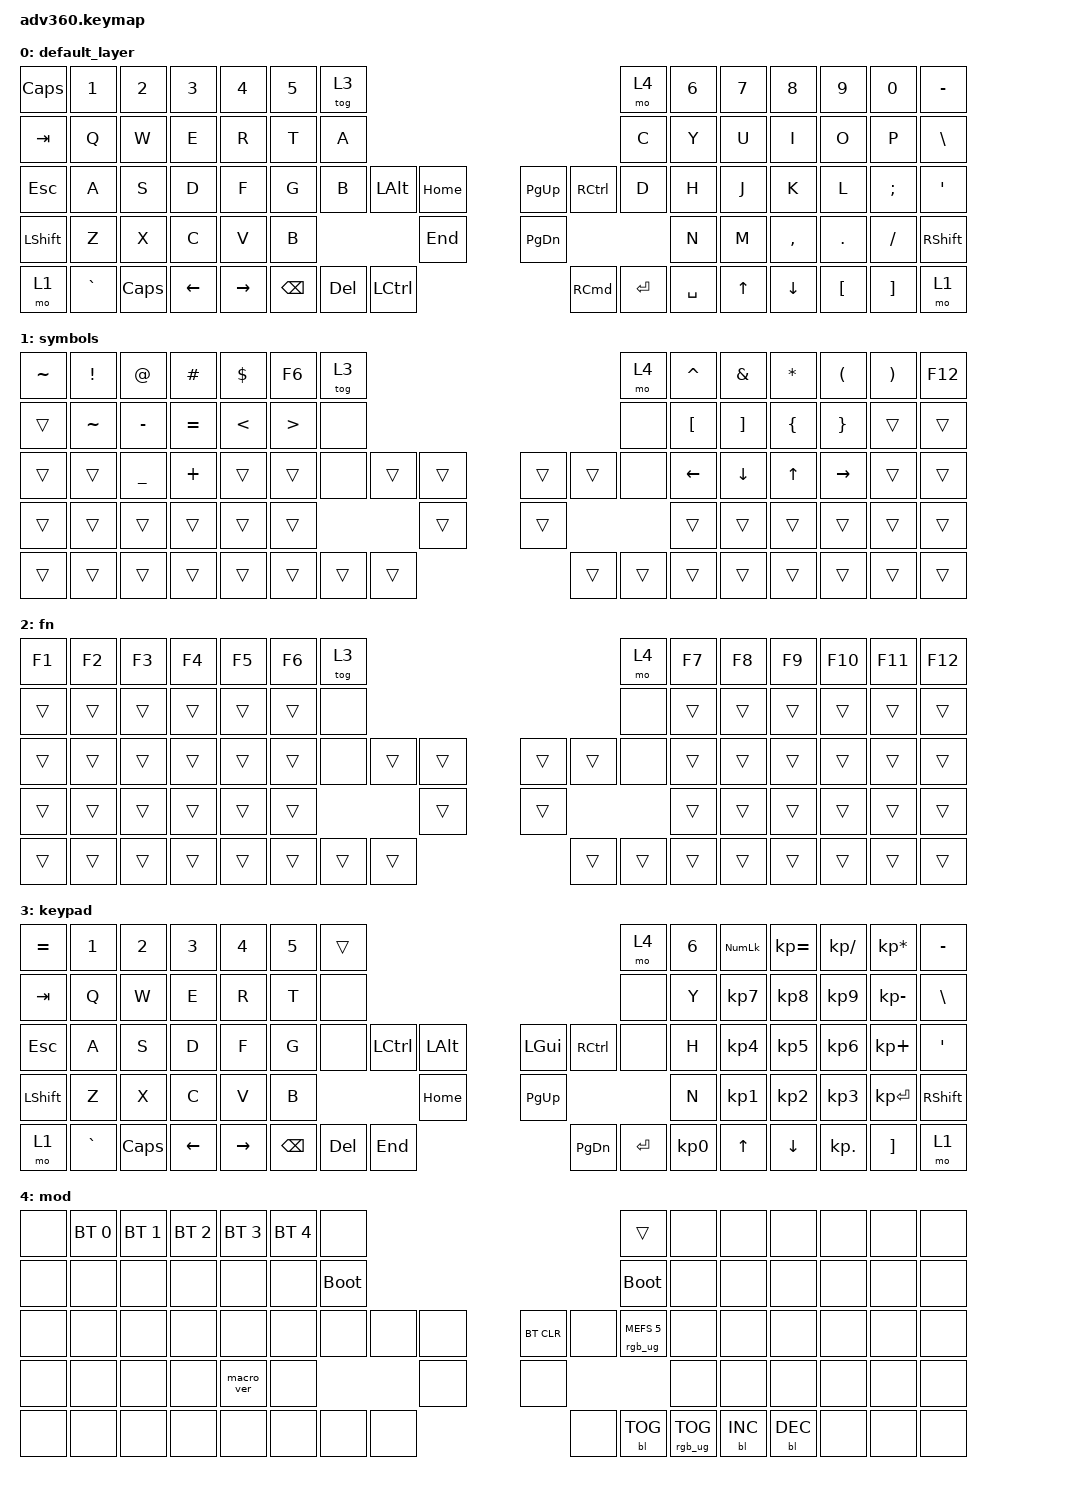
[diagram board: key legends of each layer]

#include <behaviors.dtsi>
#include <dt-bindings/zmk/backlight.h>
#include <dt-bindings/zmk/bt.h>
#include <dt-bindings/zmk/keys.h>
#include <dt-bindings/zmk/rgb.h>

/ {
    behaviors {
        #include "macros.dtsi"
      #include "version.dtsi"
      #ifndef VERSION_MACRO

        macro_ver: macro_ver {
            compatible = "zmk,behavior-macro";
            label = "macro_version";
            #binding-cells = <0>;
            bindings = <&kp RET>;
        };

        #endif

        hm: homerow_mods {
            compatible = "zmk,behavior-hold-tap";
            label = "HOMEROW_MODS";
            #binding-cells = <2>;
            tapping-term-ms = <200>;
            quick_tap_ms = <175>;
            flavor = "tap-preferred";
            bindings = <&kp>, <&kp>;
        };
    };

    macros {
    };

    keymap {
        compatible = "zmk,keymap";

        default_layer {
            bindings = <
&kp CAPSLOCK  &kp N1     &kp N2    &kp N3    &kp N4     &kp N5  &tog 3                                                                                       &mo 4  &kp N6  &kp N7  &kp N8     &kp N9    &kp N0    &kp MINUS
&kp TAB       &kp Q      &kp W     &kp E     &kp R      &kp T   &kp A                                                                                        &kp C  &kp Y   &kp U   &kp I      &kp O     &kp P     &kp BSLH
&kp ESC       &kp A      &kp S     &kp D     &kp F      &kp G   &kp B             &kp LEFT_ALT  &kp HOME            &kp PAGE_UP        &kp RCTRL             &kp D  &kp H   &kp J   &kp K      &kp L     &kp SEMI  &kp SQT
&kp LSHFT     &kp Z      &kp X     &kp C     &kp V      &kp B                                   &kp END             &kp PAGE_DOWN                                   &kp N   &kp M   &kp COMMA  &kp DOT   &kp FSLH  &kp RSHFT
&mo 1         &kp GRAVE  &kp CAPS  &kp LEFT  &kp RIGHT                  &kp BSPC  &kp DEL       &kp LEFT_CONTROL    &kp RIGHT_COMMAND  &kp ENTER  &kp SPACE                 &kp UP  &kp DOWN   &kp LBKT  &kp RBKT  &mo 1
            >;
        };

        symbols {
            bindings = <
&kp TILDE  &kp EXCL   &kp AT          &kp HASH   &kp DOLLAR     &kp F6            &tog 3                                                    &mo 4  &kp CARET         &kp AMPERSAND      &kp ASTERISK    &kp LEFT_PARENTHESIS  &kp RIGHT_PARENTHESIS  &kp F12
&trans     &kp TILDE  &kp MINUS       &kp EQUAL  &kp LESS_THAN  &kp GREATER_THAN  &none                                                     &none  &kp LEFT_BRACKET  &kp RIGHT_BRACKET  &kp LEFT_BRACE  &kp RIGHT_BRACE       &trans                 &trans
&trans     &trans     &kp UNDERSCORE  &kp PLUS   &trans         &trans            &none           &trans  &trans    &trans  &trans          &none  &kp LEFT_ARROW    &kp DOWN_ARROW     &kp UP_ARROW    &kp RIGHT_ARROW       &trans                 &trans
&trans     &trans     &trans          &trans     &trans         &trans                                    &trans    &trans                         &trans            &trans             &trans          &trans                &trans                 &trans
&trans     &trans     &trans          &trans     &trans                                   &trans  &trans  &trans    &trans  &trans  &trans                           &trans             &trans          &trans                &trans                 &trans
            >;
        };

        fn {
            bindings = <
&kp F1  &kp F2  &kp F3  &kp F4  &kp F5  &kp F6  &tog 3                                                    &mo 4  &kp F7  &kp F8  &kp F9  &kp F10  &kp F11  &kp F12
&trans  &trans  &trans  &trans  &trans  &trans  &none                                                     &none  &trans  &trans  &trans  &trans   &trans   &trans
&trans  &trans  &trans  &trans  &trans  &trans  &none           &trans  &trans    &trans  &trans          &none  &trans  &trans  &trans  &trans   &trans   &trans
&trans  &trans  &trans  &trans  &trans  &trans                          &trans    &trans                         &trans  &trans  &trans  &trans   &trans   &trans
&trans  &trans  &trans  &trans  &trans                  &trans  &trans  &trans    &trans  &trans  &trans                 &trans  &trans  &trans   &trans   &trans
            >;
        };

        keypad {
            bindings = <
&kp EQUAL  &kp N1     &kp N2    &kp N3    &kp N4     &kp N5  &trans                                                                    &mo 4  &kp N6  &kp KP_NUM  &kp KP_EQUAL  &kp KP_DIVIDE  &kp KP_MULTIPLY  &kp MINUS
&kp TAB    &kp Q      &kp W     &kp E     &kp R      &kp T   &none                                                                     &none  &kp Y   &kp KP_N7   &kp KP_N8     &kp KP_N9      &kp KP_MINUS     &kp BSLH
&kp ESC    &kp A      &kp S     &kp D     &kp F      &kp G   &none             &kp LCTRL  &kp LALT    &kp LGUI   &kp RCTRL             &none  &kp H   &kp KP_N4   &kp KP_N5     &kp KP_N6      &kp KP_PLUS      &kp SQT
&kp LSHFT  &kp Z      &kp X     &kp C     &kp V      &kp B                                &kp HOME    &kp PG_UP                               &kp N   &kp KP_N1   &kp KP_N2     &kp KP_N3      &kp KP_ENTER     &kp RSHFT
&mo 1      &kp GRAVE  &kp CAPS  &kp LEFT  &kp RIGHT                  &kp BSPC  &kp DEL    &kp END     &kp PG_DN  &kp ENTER  &kp KP_N0                 &kp UP      &kp DOWN      &kp KP_DOT     &kp RBKT         &mo 1
            >;
        };

        mod {
            bindings = <
&none  &bt BT_SEL 0  &bt BT_SEL 1  &bt BT_SEL 2  &bt BT_SEL 3  &bt BT_SEL 4  &none                                                                        &trans                  &none  &none       &none       &none  &none  &none
&none  &none         &none         &none         &none         &none         &bootloader                                                                  &bootloader             &none  &none       &none       &none  &none  &none
&none  &none         &none         &none         &none         &none         &none               &none  &none    &bt BT_CLR  &none                        &rgb_ug RGB_MEFS_CMD 5  &none  &none       &none       &none  &none  &none
&none  &none         &none         &none         &macro_ver    &none                                    &none    &none                                                            &none  &none       &none       &none  &none  &none
&none  &none         &none         &none         &none                                    &none  &none  &none    &none       &bl BL_TOG  &rgb_ug RGB_TOG                                 &bl BL_INC  &bl BL_DEC  &none  &none  &none
            >;
        };
    };
};

